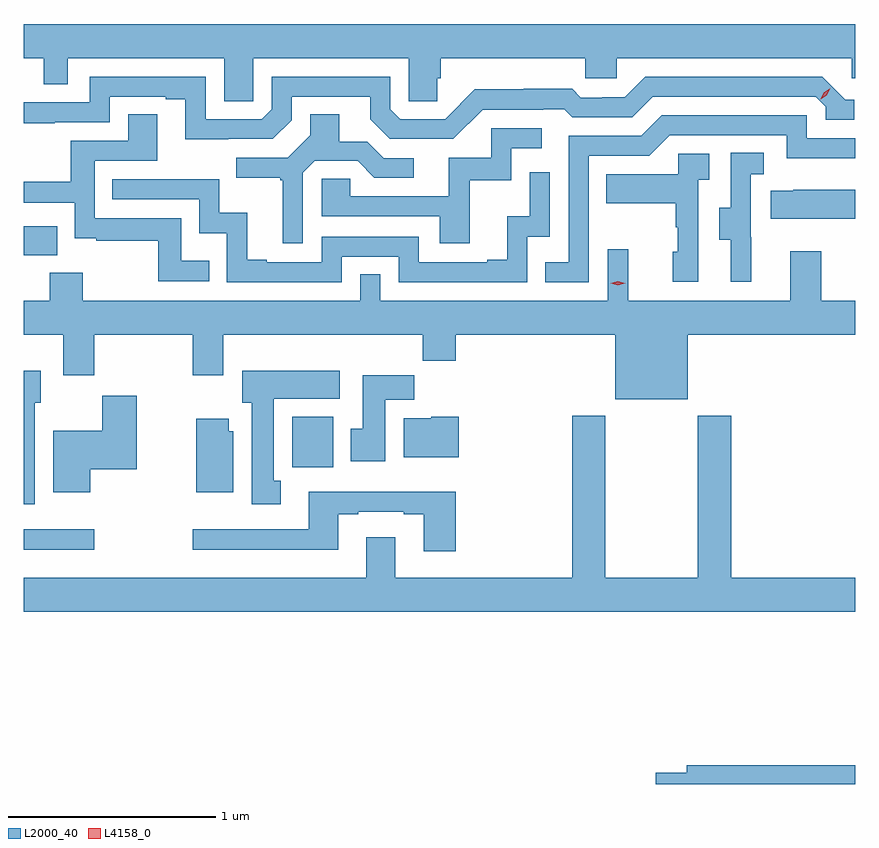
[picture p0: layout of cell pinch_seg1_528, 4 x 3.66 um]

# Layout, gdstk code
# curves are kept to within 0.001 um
import gdstk
lib = gdstk.Library(unit=1e-6, precision=1e-09)
def R(c, l, rs):  # rectangles x0, y0, x1, y1
    for r in rs: c.add(gdstk.rectangle(r[:2], r[2:], *l))
def P(c, l, *ps):  # polygons
    for p in ps: c.add(gdstk.Polygon(p, *l))
L2000_40 = (2000, 40)
L4158_0 = (4158, 0)

pinch_seg1_528 = lib.new_cell('pinch_seg1_528')
R(pinch_seg1_528, L2000_40, [(1055.401,533.384,1055.74,533.481), (1056.692,533.78,1056.889,534.022), (1055.401,534.8,1055.561,534.94)])
P(pinch_seg1_528, L2000_40, [(1056.504,535.748),(1057.254,535.748),(1057.254,535.54),(1057.391,535.54),(1057.391,535.65),(1057.406,535.65),(1057.406,535.748),(1058.103,535.748),(1058.103,535.65),(1058.253,535.65),(1058.253,535.748),(1059.384,535.748),(1059.384,535.65),(1059.401,535.65),(1059.401,535.912),(1055.401,535.912),(1055.401,535.748),(1055.497,535.748),(1055.497,535.621),(1055.613,535.621),(1055.613,535.748),(1056.365,535.748),(1056.365,535.54),(1056.504,535.54)],
  [(1056.384,535.359),(1056.6,535.359),(1056.69,535.449),(1056.69,535.563),(1057.067,535.563),(1057.067,535.453),(1057.161,535.359),(1057.467,535.359),(1057.608,535.5),(1057.901,535.5),(1057.901,535.503),(1058,535.503),(1058.039,535.464),(1058.328,535.464),(1058.427,535.563),(1059.21,535.563),(1059.258,535.515),(1059.258,535.452),(1059.397,535.452),(1059.397,535.548),(1059.354,535.548),(1059.243,535.659),(1058.39,535.659),(1058.291,535.56),(1058.184,535.56),(1058.184,535.557),(1058.081,535.557),(1058.039,535.6),(1057.806,535.6),(1057.806,535.597),(1057.57,535.597),(1057.428,535.455),(1057.212,535.455),(1057.164,535.503),(1057.164,535.659),(1056.594,535.659),(1056.594,535.503),(1056.546,535.455),(1056.276,535.455),(1056.276,535.659),(1055.718,535.659),(1055.718,535.536),(1055.401,535.536),(1055.401,535.435),(1055.549,535.435),(1055.549,535.44),(1055.814,535.44),(1055.814,535.563),(1056.083,535.563),(1056.083,535.551),(1056.179,535.551),(1056.179,535.358)],
  [(1056.293,534.772),(1056.159,534.772),(1056.159,534.978),(1055.742,534.978),(1055.742,535.254),(1056.043,535.254),(1056.043,535.478),(1055.903,535.478),(1055.903,535.35),(1055.626,535.35),(1055.626,535.154),(1055.401,535.154),(1055.401,535.053),(1055.646,535.053),(1055.646,534.881),(1055.749,534.881),(1055.749,534.87),(1056.048,534.87),(1056.048,534.675),(1056.293,534.675)],
  [(1056.744,535.197),(1056.801,535.254),(1057.007,535.254),(1057.088,535.173),(1057.276,535.173),(1057.276,535.266),(1057.134,535.266),(1057.054,535.346),(1056.919,535.346),(1056.919,535.478),(1056.779,535.478),(1056.779,535.376),(1056.672,535.269),(1056.423,535.269),(1056.423,535.172),(1056.636,535.172),(1056.636,535.161),(1056.647,535.161),(1056.647,534.858),(1056.744,534.858)],
  [(1058.118,535.278),(1058.409,535.278),(1058.508,535.377),(1059.072,535.377),(1059.072,535.265),(1059.401,535.265),(1059.401,535.362),(1059.168,535.362),(1059.168,535.473),(1058.471,535.473),(1058.372,535.374),(1058.022,535.374),(1058.022,534.765),(1057.909,534.765),(1057.909,534.669),(1058.118,534.669)],
  [(1057.547,535.161),(1057.746,535.161),(1057.746,535.314),(1057.894,535.314),(1057.894,535.41),(1057.65,535.41),(1057.65,535.269),(1057.445,535.269),(1057.445,535.083),(1056.971,535.083),(1056.971,535.167),(1056.834,535.167),(1056.834,534.987),(1057.403,534.987),(1057.403,534.858),(1057.547,534.858)],
  [(1058.9,534.885),(1058.898,534.885),(1058.898,535.189),(1058.962,535.189),(1058.962,535.292),(1058.802,535.292),(1058.802,535.029),(1058.747,535.029),(1058.747,534.874),(1058.801,534.874),(1058.801,534.672),(1058.9,534.672)],
  [(1058.646,535.163),(1058.698,535.163),(1058.698,535.287),(1058.55,535.287),(1058.55,535.189),(1058.203,535.189),(1058.203,535.049),(1058.538,535.049),(1058.538,534.935),(1058.548,534.935),(1058.548,534.816),(1058.522,534.816),(1058.522,534.672),(1058.646,534.672)],
  [(1056.93,534.792),(1057.206,534.792),(1057.206,534.669),(1057.824,534.669),(1057.824,534.888),(1057.932,534.888),(1057.932,535.198),(1057.836,535.198),(1057.836,534.986),(1057.727,534.986),(1057.727,534.778),(1057.631,534.778),(1057.631,534.765),(1057.302,534.765),(1057.302,534.888),(1056.834,534.888),(1056.834,534.765),(1056.571,534.765),(1056.571,534.778),(1056.475,534.778),(1056.475,535.003),(1056.342,535.003),(1056.342,535.164),(1055.827,535.164),(1055.827,535.068),(1056.246,535.068),(1056.246,534.905),(1056.378,534.905),(1056.378,534.669),(1056.93,534.669)],
  [(1059.401,535.114),(1059.103,535.114),(1059.103,535.111),(1058.995,535.111),(1058.995,534.974),(1059.401,534.974)],
  [(1058.596,534.416),(1059.401,534.416),(1059.401,534.58),(1059.237,534.58),(1059.237,534.82),(1059.089,534.82),(1059.089,534.58),(1058.309,534.58),(1058.309,534.829),(1058.211,534.829),(1058.211,534.58),(1057.116,534.58),(1057.116,534.707),(1057.02,534.707),(1057.02,534.58),(1055.685,534.58),(1055.685,534.715),(1055.525,534.715),(1055.525,534.58),(1055.401,534.58),(1055.401,534.416),(1055.591,534.416),(1055.591,534.222),(1055.739,534.222),(1055.739,534.416),(1056.214,534.416),(1056.214,534.222),(1056.361,534.222),(1056.361,534.416),(1057.321,534.416),(1057.321,534.292),(1057.478,534.292),(1057.478,534.416),(1058.246,534.416),(1058.246,534.107),(1058.596,534.107)],
  [(1055.455,534.09),(1055.482,534.09),(1055.482,534.244),(1055.401,534.244),(1055.401,533.601),(1055.455,533.601)],
  [(1056.637,533.714),(1056.604,533.714),(1056.604,534.11),(1056.922,534.11),(1056.922,534.244),(1056.452,534.244),(1056.452,534.09),(1056.497,534.09),(1056.497,533.601),(1056.637,533.601)],
  [(1057.141,534.104),(1057.28,534.104),(1057.28,534.223),(1057.031,534.223),(1057.031,533.964),(1056.974,533.964),(1056.974,533.808),(1057.141,533.808)],
  [(1055.722,533.771),(1055.944,533.771),(1055.944,534.124),(1055.779,534.124),(1055.779,533.956),(1055.543,533.956),(1055.543,533.66),(1055.722,533.66)],
  [(1059.401,533.248),(1058.804,533.248),(1058.804,534.028),(1058.644,534.028),(1058.644,533.248),(1058.199,533.248),(1058.199,534.028),(1058.039,534.028),(1058.039,533.248),(1057.189,533.248),(1057.189,533.443),(1057.049,533.443),(1057.049,533.248),(1055.401,533.248),(1055.401,533.084),(1059.401,533.084)],
  [(1057.493,534.022),(1057.362,534.022),(1057.362,534.016),(1057.229,534.016),(1057.229,533.828),(1057.493,533.828)],
  [(1056.409,533.952),(1056.388,533.952),(1056.388,534.013),(1056.23,534.013),(1056.23,533.66),(1056.409,533.66)],
  [(1057.478,533.662),(1056.773,533.662),(1056.773,533.481),(1056.213,533.481),(1056.213,533.384),(1056.913,533.384),(1056.913,533.553),(1057.009,533.553),(1057.009,533.565),(1057.229,533.565),(1057.229,533.553),(1057.325,533.553),(1057.325,533.376),(1057.478,533.376)],
  [(1059.401,532.346),(1058.591,532.346),(1058.591,532.31),(1058.442,532.31),(1058.442,532.256),(1059.401,532.256)])
P(pinch_seg1_528, L4158_0, [(1058.259,534.655),(1058.224,534.665),(1058.224,534.665),(1058.224,534.665),(1058.259,534.675),(1058.294,534.665),(1058.294,534.665),(1058.294,534.665)],
  [(1059.234,535.549),(1059.234,535.549),(1059.25,535.582),(1059.28,535.602),(1059.28,535.602),(1059.28,535.602),(1059.265,535.569),(1059.235,535.549)])

lib.write_gds('pinch_seg1_528.gds')
